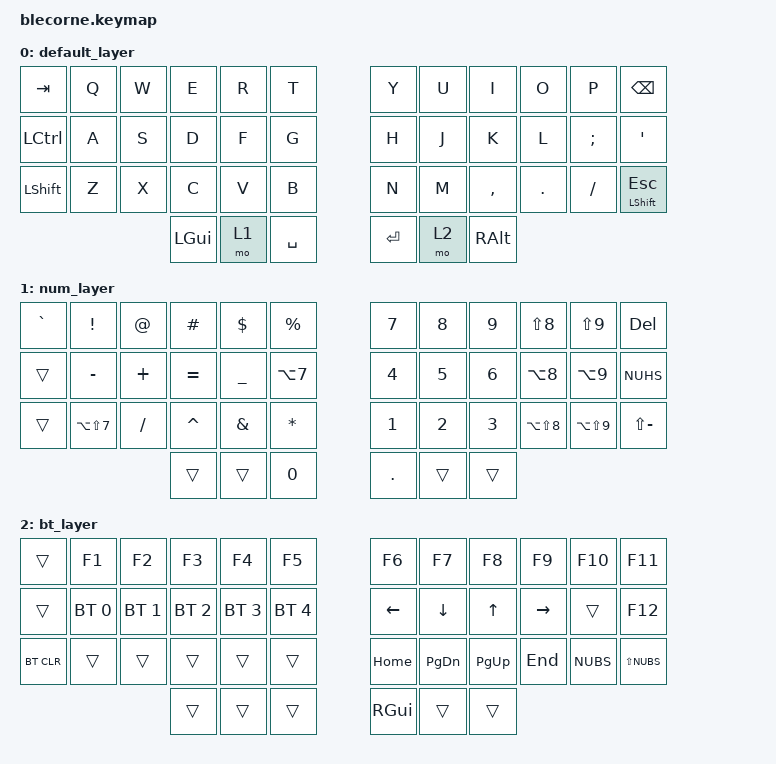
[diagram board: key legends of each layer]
 #include <behaviors.dtsi>
  #include <dt-bindings/zmk/keys.h>
  #include <dt-bindings/zmk/bt.h>

  / {
      chosen {
          zmk,physical-layout = &foostan_corne_6col_layout;
      };
  };

  / {
      keymap {
          compatible = "zmk,keymap";

          default_layer {
              bindings = <
                  &kp TAB    &kp Q  &kp W  &kp E  &kp R  &kp T    &kp Y    &kp U  &kp I      &kp O    &kp P     &kp BSPC
                  &kp LCTRL  &kp A  &kp S  &kp D  &kp F  &kp G    &kp H    &kp J  &kp K      &kp L    &kp SEMI  &kp SQT
                  &kp LSHFT  &kp Z  &kp X  &kp C  &kp V  &kp B    &kp N    &kp M  &kp COMMA  &kp DOT  &kp FSLH  &mt LSHFT ESC
                                    &kp LGUI  &mo 1  &kp SPACE    &kp RET  &mo 2  &kp RALT
              >;
          };

          num_layer {
              bindings = <
                  &kp GRAVE  &kp EXCL        &kp AT    &kp HASH   &kp DLLR  &kp PRCNT    &kp N7  &kp N8  &kp N9  &kp LS(N8)      &kp LS(N9)      &kp DEL
                  &trans     &kp MINUS       &kp PLUS  &kp EQUAL  &kp UNDER &kp LA(N7)   &kp N4  &kp N5  &kp N6  &kp LA(N8)      &kp LA(N9)      &kp NUHS
                  &trans     &kp LA(LS(N7))  &kp FSLH  &kp CARET  &kp AMPS  &kp STAR     &kp N1  &kp N2  &kp N3  &kp LA(LS(N8))  &kp LA(LS(N9))  &kp LS(MINUS)
                                             &trans    &trans     &kp N0    &kp DOT      &trans  &trans
              >;
          };

          bt_layer {
              bindings = <
                  &trans      &kp F1        &kp F2        &kp F3        &kp F4        &kp F5         &kp F6    &kp F7     &kp F8     &kp F9     &kp F10  	&kp F11
                  &trans      &bt BT_SEL 0  &bt BT_SEL 1  &bt BT_SEL 2  &bt BT_SEL 3  &bt BT_SEL 4   &kp LEFT  &kp DOWN   &kp UP     &kp RIGHT  &trans 		&kp F12
                  &bt BT_CLR  &trans        &trans        &trans        &trans        &trans         &kp HOME  &kp PG_DN  &kp PG_UP  &kp END    &kp NUBS 	&kp LS(NUBS)
                                            &trans        &trans        &trans        &kp RGUI       &trans    &trans
              >;
          };
      };
  };
